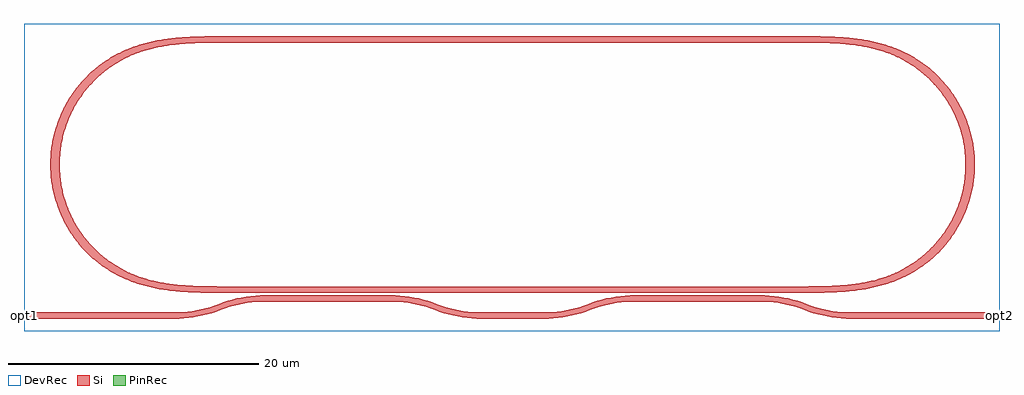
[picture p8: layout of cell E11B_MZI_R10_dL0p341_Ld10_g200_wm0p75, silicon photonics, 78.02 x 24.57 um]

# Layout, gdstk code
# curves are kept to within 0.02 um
import gdstk
lib = gdstk.Library(unit=1e-6, precision=1e-09)
def R(c, l, rs):  # rectangles x0, y0, x1, y1
    for r in rs: c.add(gdstk.rectangle(r[:2], r[2:], *l))
def P(c, l, *ps):  # polygons
    for p in ps: c.add(gdstk.Polygon(p, *l))
Si = (1, 0)
PinRec = (1, 10)
DevRec = (68, 0)

c__e11bring_r10p000_lc43p5 = lib.new_cell('_E11Bring_R10p000_Lc43p545_w0p500_wm0p750_tp30')
R(c__e11bring_r10p000_lc43p5, Si, [(-21.772,-10.25,21.772,-9.75), (-21.772,9.75,21.772,10.25)])
P(c__e11bring_r10p000_lc43p5, Si, [(-22.934,-10.25),(-25.918,-10.193),(-27.076,-10.105),(-28.062,-9.976),(-29.038,-9.783),(-29.838,-9.565),(-30.62,-9.289),(-31.378,-8.954),(-32.241,-8.475),(-32.911,-8.02),(-33.663,-7.404),(-34.352,-6.719),(-34.97,-5.969),(-35.428,-5.301),(-35.83,-4.598),(-36.235,-3.715),(-36.553,-2.797),(-36.808,-1.693),(-36.926,-0.728),(-36.95,0.243),(-36.879,1.212),(-36.714,2.17),(-36.457,3.107),(-36.11,4.014),(-35.676,4.884),(-35.16,5.707),(-34.566,6.476),(-33.9,7.184),(-33.168,7.823),(-32.378,8.388),(-31.527,8.88),(-30.62,9.29),(-29.52,9.659),(-28.552,9.888),(-27.241,10.088),(-25.918,10.193),(-24.426,10.24),(-21.772,10.25),(-21.772,9.75),(-24.291,9.741),(-26.022,9.678),(-27.587,9.515),(-28.822,9.271),(-29.578,9.054),(-30.171,8.841),(-30.749,8.591),(-31.309,8.304),(-31.842,7.986),(-32.35,7.636),(-33.292,6.84),(-33.723,6.398),(-34.219,5.807),(-34.666,5.179),(-34.985,4.651),(-35.336,3.964),(-35.575,3.395),(-35.777,2.812),(-35.975,2.066),(-36.09,1.46),(-36.177,0.694),(-36.202,0.077),(-36.177,-0.694),(-36.09,-1.46),(-35.975,-2.066),(-35.777,-2.811),(-35.575,-3.395),(-35.202,-4.242),(-34.83,-4.917),(-34.404,-5.56),(-33.826,-6.283),(-33.18,-6.946),(-32.595,-7.448),(-31.842,-7.986),(-31.171,-8.379),(-30.317,-8.781),(-29.428,-9.101),(-28.362,-9.376),(-27.431,-9.537),(-26.336,-9.655),(-25.236,-9.717),(-21.772,-9.75),(-21.772,-10.25)],
  [(21.772,-10.25),(21.772,-9.75),(24.449,-9.738),(26.022,-9.678),(27.431,-9.537),(28.669,-9.307),(29.578,-9.053),(30.462,-8.72),(31.309,-8.304),(32.099,-7.815),(32.951,-7.152),(33.723,-6.398),(34.404,-5.56),(35.06,-4.515),(35.336,-3.963),(35.575,-3.395),(35.903,-2.366),(36.132,-1.154),(36.202,-0.077),(36.15,1.001),(35.975,2.066),(35.629,3.25),(35.202,4.242),(34.666,5.179),(33.927,6.167),(33.18,6.946),(32.715,7.352),(32.225,7.726),(31.446,8.227),(30.606,8.657),(29.728,9.004),(28.669,9.308),(27.275,9.559),(26.022,9.678),(24.291,9.741),(21.772,9.75),(21.772,10.25),(25.587,10.209),(26.911,10.122),(27.734,10.026),(28.877,9.82),(29.838,9.565),(30.62,9.29),(31.527,8.88),(32.378,8.388),(33.168,7.823),(33.9,7.184),(34.566,6.476),(35.16,5.707),(35.676,4.884),(36.11,4.014),(36.457,3.107),(36.714,2.17),(36.879,1.212),(36.95,0.243),(36.913,-0.89),(36.779,-1.852),(36.553,-2.797),(36.235,-3.715),(35.83,-4.598),(35.341,-5.438),(34.872,-6.098),(34.352,-6.719),(33.663,-7.404),(32.911,-8.02),(32.241,-8.475),(31.378,-8.954),(30.62,-9.289),(29.838,-9.565),(29.038,-9.783),(28.062,-9.976),(27.076,-10.105),(25.089,-10.226)])

e11b_mzi_r10_dl0p341_ld1 = lib.new_cell('E11B_MZI_R10_dL0p341_Ld10_g200_wm0p75')
R(e11b_mzi_r10_dl0p341_ld1, Si, [(-1,-0.25,0,0.25), (0,-0.25,11,0.25), (35.545,-0.25,40.545,0.25), (65.09,-0.25,75.998,0.25), (75.998,-0.25,76.998,0.25), (18.272,1.119,28.272,1.619), (47.817,1.119,57.817,1.619)])
P(e11b_mzi_r10_dl0p341_ld1, Si, [(35.545,-0.25),(34.783,-0.222),(33.649,-0.073),(32.538,0.201),(31.818,0.452),(32,0.917),(32.685,0.679),(33.741,0.418),(34.82,0.277),(35.545,0.25)],
  [(65.09,-0.25),(64.328,-0.222),(63.194,-0.073),(62.083,0.201),(61.363,0.452),(61.545,0.917),(62.23,0.679),(63.286,0.418),(64.365,0.277),(65.09,0.25)],
  [(31.818,0.452),(30.784,0.79),(30.076,0.951),(28.998,1.092),(28.272,1.119),(28.272,1.619),(29.035,1.591),(29.793,1.506),(30.542,1.365),(31.642,1.049),(32,0.917)],
  [(61.363,0.452),(60.329,0.79),(59.621,0.951),(58.543,1.092),(57.817,1.119),(57.817,1.619),(58.58,1.591),(59.338,1.506),(60.087,1.365),(61.187,1.049),(61.545,0.917)],
  [(14.727,0.452),(14.545,0.917),(14.903,1.049),(16.003,1.365),(16.752,1.506),(17.51,1.591),(18.272,1.619),(18.272,1.119),(17.547,1.092),(16.469,0.951),(15.761,0.79)],
  [(44.272,0.452),(44.09,0.917),(44.448,1.049),(45.548,1.365),(46.297,1.506),(47.055,1.591),(47.817,1.619),(47.817,1.119),(47.092,1.092),(46.014,0.951),(45.306,0.79)],
  [(11,-0.25),(11,0.25),(11.725,0.277),(12.804,0.418),(13.86,0.679),(14.545,0.917),(14.727,0.452),(14.007,0.201),(12.896,-0.073),(11.762,-0.222)],
  [(40.545,-0.25),(40.545,0.25),(41.27,0.277),(42.349,0.418),(43.405,0.679),(44.09,0.917),(44.272,0.452),(43.552,0.201),(42.441,-0.073),(41.307,-0.222)])
R(e11b_mzi_r10_dl0p341_ld1, DevRec, [(-1,-1.25,76.998,23.319)])
e11b_mzi_r10_dl0p341_ld1.add(gdstk.FlexPath([(76.988,0),(77.008,0)], 0.5, ends="flush", simple_path=True, layer=1, datatype=10))  # PinRec
e11b_mzi_r10_dl0p341_ld1.add(gdstk.FlexPath([(-0.99,0),(-1.01,0)], 0.5, ends="flush", simple_path=True, layer=1, datatype=10))  # PinRec
e11b_mzi_r10_dl0p341_ld1.add(gdstk.Reference(c__e11bring_r10p000_lc43p5, (38.045,12.069)))
e11b_mzi_r10_dl0p341_ld1.add(gdstk.Label('opt2', (76.998,0), layer=1, texttype=10))
e11b_mzi_r10_dl0p341_ld1.add(gdstk.Label('opt1', (-1,0), layer=1, texttype=10))

lib.write_gds('E11B_MZI_R10_dL0p341_Ld10_g200_wm0p75.gds')
